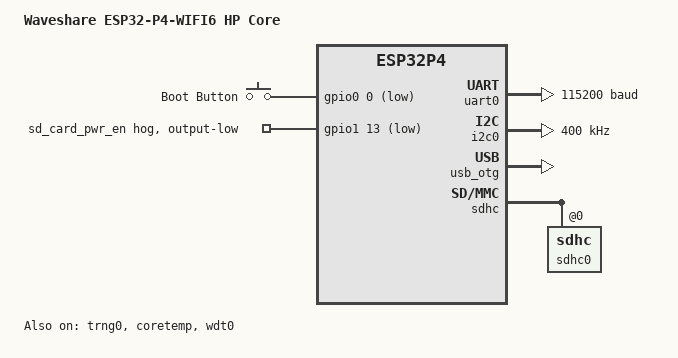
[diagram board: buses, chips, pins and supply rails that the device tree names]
/*
 * Copyright (c) 2026 Hongquan Li
 *
 * SPDX-License-Identifier: Apache-2.0
 */

/dts-v1/;

#include <espressif/esp32p4/esp32p4_common.dtsi>
#include "esp32p4_wifi6_esp32p4_hpcore-pinctrl.dtsi"
#include <zephyr/dt-bindings/input/input-event-codes.h>
#include <espressif/partitions_0x2000_default_16M.dtsi>

/ {
	model = "Waveshare ESP32-P4-WIFI6 HP Core";
	compatible = "espressif,esp32p4";

	chosen {
		zephyr,sram = &sramhp;
		zephyr,console = &uart0;
		zephyr,shell-uart = &uart0;
		zephyr,flash = &flash0;
		zephyr,code-partition = &slot0_partition;
	};

	aliases {
		sdhc0 = &sdhc0;
		sw0 = &boot_button;
		watchdog0 = &wdt0;
	};

	gpio_keys {
		compatible = "gpio-keys";

		boot_button: button {
			label = "Boot Button";
			gpios = <&gpio0 0 (GPIO_PULL_UP | GPIO_ACTIVE_LOW)>;
			zephyr,code = <INPUT_KEY_0>;
		};
	};
};

&storage_partition {
	reg = <0xfb0000 DT_SIZE_K(16576)>;
};

/* 32 MB flash: default layout with storage extended and scratch/coredump moved to the end */
&flash0 {
	reg = <0x0 DT_SIZE_M(32)>;
	ranges = <0x0 0x0 DT_SIZE_M(32)>;

	partitions {
		/delete-node/ partition@fe0000;
		/delete-node/ partition@fff000;

		scratch_partition: partition@1fe0000 {
			compatible = "zephyr,mapped-partition";
			label = "image-scratch";
			reg = <0x1fe0000 DT_SIZE_K(124)>;
		};

		coredump_partition: partition@1fff000 {
			compatible = "zephyr,mapped-partition";
			label = "coredump";
			reg = <0x1fff000 DT_SIZE_K(4)>;
		};
	};
};

/* 32 MB PSRAM */
&psram0 {
	size = <DT_SIZE_M(32)>;
};

/* Pre-v3 (v1.3) silicon: valid CPU frequencies are 90/180/360 MHz */
&cpu0 {
	clock-frequency = <DT_FREQ_M(360)>;
};

&cpu1 {
	clock-frequency = <DT_FREQ_M(360)>;
};

&uart0 {
	status = "okay";
	current-speed = <115200>;
	pinctrl-0 = <&uart0_default>;
	pinctrl-names = "default";
};

&i2c0 {
	status = "okay";
	clock-frequency = <I2C_BITRATE_FAST>;
	pinctrl-0 = <&i2c0_default>;
	pinctrl-names = "default";
};

&i2s0 {
	status = "disabled";
	pinctrl-0 = <&i2s0_default>;
	pinctrl-names = "default";
};

&spi2 {
	status = "disabled";
};

&trng0 {
	status = "okay";
};

&coretemp {
	status = "okay";
};

&gpio0 {
	status = "okay";
};

&gpio1 {
	status = "okay";

	/* GPIO45: SD card power enable (active-low) */
	sd_card_pwr_en {
		gpio-hog;
		gpios = <13 GPIO_ACTIVE_LOW>;
		output-low;
	};
};

&wdt0 {
	status = "okay";
};

&dma {
	status = "okay";
};

&dma_axi {
	status = "okay";
};

zephyr_udc0: &usb_otg {
	status = "okay";
};

&sdhc {
	sdhc0: sdhc@0 {
		status = "okay";
		bus-width = <4>;
		max-bus-freq = <40000000>;
		clk-pin = <39>;
		cmd-pin = <43>;
		d0-pin = <40>;
		d1-pin = <44>;
		d2-pin = <41>;
		d3-pin = <42>;

		mmc {
			compatible = "zephyr,sdmmc-disk";
			disk-name = "SD";
			status = "okay";
		};
	};
};

&ldo {
	status = "okay";

	ldo1@1 {
		reg = <1>;
		regulator-name = "ldo1";
		regulator-init-microvolt = <3300000>;
		regulator-boot-on;
		regulator-always-on;
	};

	ldo2@2 {
		reg = <2>;
		regulator-name = "ldo2";
		regulator-init-microvolt = <1800000>;
		regulator-boot-on;
		regulator-always-on;
	};

	ldo4@4 {
		reg = <4>;
		regulator-name = "ldo4";
		regulator-init-microvolt = <3300000>;
		regulator-boot-on;
		regulator-always-on;
	};
};
